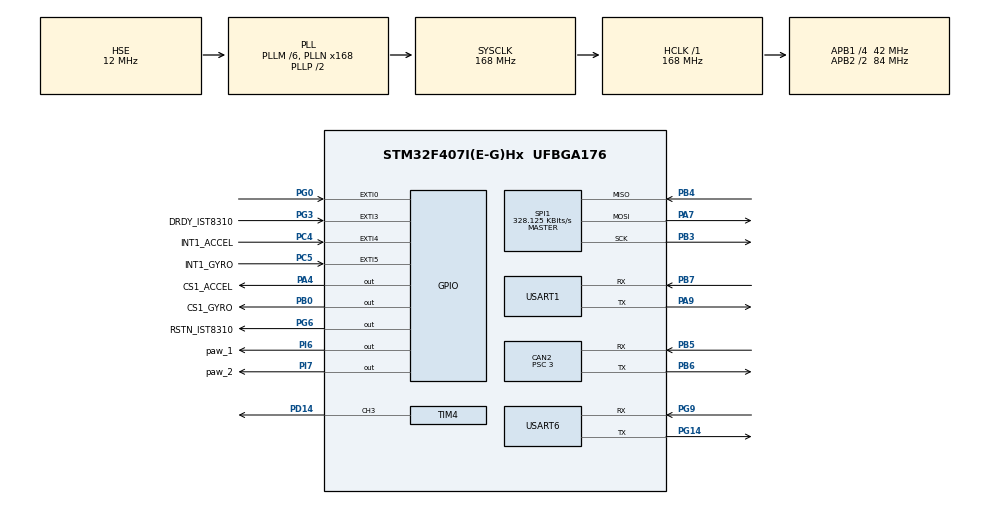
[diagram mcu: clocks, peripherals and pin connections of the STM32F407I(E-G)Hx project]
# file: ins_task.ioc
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CAN2.BS1=CAN_BS1_12TQ
CAN2.CalculateTimeQuantum=71.42857142857143
CAN2.Prescaler=3
Dma.Request0=SPI1_RX
Dma.Request1=SPI1_TX
Dma.SPI1_RX.0.Direction=DMA_PERIPH_TO_MEMORY
Dma.SPI1_RX.0.FIFOMode=DMA_FIFOMODE_DISABLE
Dma.SPI1_RX.0.Instance=DMA2_Stream2
Dma.SPI1_RX.0.MemDataAlignment=DMA_MDATAALIGN_BYTE
Dma.SPI1_RX.0.MemInc=DMA_MINC_ENABLE
Dma.SPI1_RX.0.Mode=DMA_NORMAL
Dma.SPI1_RX.0.PeriphDataAlignment=DMA_PDATAALIGN_BYTE
Dma.SPI1_RX.0.PeriphInc=DMA_PINC_DISABLE
Dma.SPI1_RX.0.Priority=DMA_PRIORITY_VERY_HIGH
Dma.SPI1_TX.1.Direction=DMA_MEMORY_TO_PERIPH
Dma.SPI1_TX.1.FIFOMode=DMA_FIFOMODE_DISABLE
Dma.SPI1_TX.1.Instance=DMA2_Stream3
Dma.SPI1_TX.1.MemDataAlignment=DMA_MDATAALIGN_BYTE
Dma.SPI1_TX.1.MemInc=DMA_MINC_ENABLE
Dma.SPI1_TX.1.Mode=DMA_NORMAL
Dma.SPI1_TX.1.PeriphDataAlignment=DMA_PDATAALIGN_BYTE
Dma.SPI1_TX.1.PeriphInc=DMA_PINC_DISABLE
Dma.SPI1_TX.1.Priority=DMA_PRIORITY_HIGH
FREERTOS.INCLUDE_eTaskGetState=1
FREERTOS.INCLUDE_pcTaskGetTaskName=1
FREERTOS.INCLUDE_uxTaskGetStackHighWaterMark=1
FREERTOS.INCLUDE_vTaskCleanUpResources=1
FREERTOS.INCLUDE_vTaskDelayUntil=1
FREERTOS.INCLUDE_xEventGroupSetBitFromISR=1
FREERTOS.INCLUDE_xQueueGetMutexHolder=1
FREERTOS.INCLUDE_xSemaphoreGetMutexHolder=1
FREERTOS.INCLUDE_xTaskAbortDelay=1
FREERTOS.INCLUDE_xTaskGetCurrentTaskHandle=1
FREERTOS.INCLUDE_xTaskGetHandle=1
FREERTOS.INCLUDE_xTimerPendFunctionCall=1
FREERTOS.Tasks01=test,24,128,test_task,As weak,NULL,Dynamic,NULL,NULL
FREERTOS.configTOTAL_HEAP_SIZE=24576
Mcu.Family=STM32F4
Mcu.Name=STM32F407I(E-G)Hx
Mcu.Package=UFBGA176
NVIC.CAN2_RX0_IRQn=true\:5\:0\:false\:false\:true\:true\:true\:true\:true
NVIC.CAN2_RX1_IRQn=true\:5\:0\:false\:false\:true\:true\:true\:true\:true
NVIC.DMA2_Stream2_IRQn=true\:5\:0\:true\:false\:false\:true\:false\:true\:true
NVIC.DMA2_Stream3_IRQn=true\:5\:0\:true\:false\:false\:true\:false\:true\:true
NVIC.EXTI0_IRQn=true\:6\:0\:true\:false\:true\:true\:true\:true\:true
NVIC.EXTI3_IRQn=true\:5\:0\:true\:false\:true\:true\:true\:true\:true
NVIC.EXTI4_IRQn=true\:5\:0\:true\:false\:true\:true\:true\:true\:true
NVIC.EXTI9_5_IRQn=true\:5\:0\:true\:false\:true\:true\:true\:true\:true
NVIC.PriorityGroup=NVIC_PRIORITYGROUP_4
NVIC.TIM1_UP_TIM10_IRQn=true\:0\:0\:false\:false\:true\:false\:false\:true\:true
NVIC.TimeBase=TIM1_UP_TIM10_IRQn
NVIC.TimeBaseIP=TIM1
NVIC.USART1_IRQn=true\:5\:0\:false\:false\:true\:true\:true\:true\:true
NVIC.USART6_IRQn=true\:5\:0\:false\:false\:true\:true\:true\:true\:true
PA13.Mode=Serial_Wire
PA13.Signal=SYS_JTMS-SWDIO
PA14.Mode=Serial_Wire
PA14.Signal=SYS_JTCK-SWCLK
PA4.GPIO_Label=CS1_ACCEL
PA4.GPIO_PuPd=GPIO_PULLUP
PA4.GPIO_Speed=GPIO_SPEED_FREQ_HIGH
PA4.PinState=GPIO_PIN_SET
PA4.Signal=GPIO_Output
PA7.GPIO_PuPd=GPIO_PULLUP
PA7.Mode=Full_Duplex_Master
PA7.Signal=SPI1_MOSI
PA8.Signal=I2C3_SCL
PA9.Mode=Asynchronous
PA9.Signal=USART1_TX
PB0.GPIO_Label=CS1_GYRO
PB0.GPIO_PuPd=GPIO_PULLUP
PB0.GPIO_Speed=GPIO_SPEED_FREQ_HIGH
PB0.PinState=GPIO_PIN_SET
PB0.Signal=GPIO_Output
PB3.GPIO_PuPd=GPIO_PULLUP
PB3.Mode=Full_Duplex_Master
PB3.Signal=SPI1_SCK
PB4.GPIO_PuPd=GPIO_PULLUP
PB4.Mode=Full_Duplex_Master
PB4.Signal=SPI1_MISO
PB5.Mode=Slave
PB5.Signal=CAN2_RX
PB6.Mode=Slave
PB6.Signal=CAN2_TX
PB7.Mode=Asynchronous
PB7.Signal=USART1_RX
PC4.GPIO_Label=INT1_ACCEL
PC4.GPIO_ModeDefaultEXTI=GPIO_MODE_IT_FALLING
PC4.GPIO_PuPd=GPIO_PULLUP
PC4.Signal=GPXTI4
PC5.GPIO_Label=INT1_GYRO
PC5.GPIO_ModeDefaultEXTI=GPIO_MODE_IT_FALLING
PC5.GPIO_PuPd=GPIO_PULLUP
PC5.Signal=GPXTI5
PC9.Signal=I2C3_SDA
PD14.Signal=S_TIM4_CH3
PF6.GPIO_PuPd=GPIO_PULLUP
PF6.GPIO_Speed=GPIO_SPEED_FREQ_HIGH
PF6.Signal=S_TIM10_CH1
PG0.GPIO_ModeDefaultEXTI=GPIO_MODE_IT_FALLING
PG0.GPIO_PuPd=GPIO_PULLUP
PG0.Signal=GPXTI0
PG14.Mode=Asynchronous
PG14.Signal=USART6_TX
PG3.GPIO_Label=DRDY_IST8310
PG3.GPIO_ModeDefaultEXTI=GPIO_MODE_IT_FALLING
PG3.GPIO_PuPd=GPIO_PULLUP
PG3.Signal=GPXTI3
PG6.GPIO_Label=RSTN_IST8310
PG6.GPIO_PuPd=GPIO_PULLUP
PG6.GPIO_Speed=GPIO_SPEED_FREQ_MEDIUM
PG6.PinState=GPIO_PIN_SET
PG6.Signal=GPIO_Output
PG9.Mode=Asynchronous
PG9.Signal=USART6_RX
PH0-OSC_IN.Mode=HSE-External-Oscillator
PH0-OSC_IN.Signal=RCC_OSC_IN
PH1-OSC_OUT.Mode=HSE-External-Oscillator
PH1-OSC_OUT.Signal=RCC_OSC_OUT
PH10.GPIO_Label=LED_B
PH10.GPIO_PuPd=GPIO_PULLUP
PH10.GPIO_Speed=GPIO_SPEED_FREQ_HIGH
PH10.Signal=S_TIM5_CH1
PH11.GPIO_Label=LED_G
PH11.GPIO_PuPd=GPIO_PULLUP
PH11.GPIO_Speed=GPIO_SPEED_FREQ_HIGH
PH11.Signal=S_TIM5_CH2
PH12.GPIO_Label=LED_R
PH12.GPIO_PuPd=GPIO_PULLUP
PH12.GPIO_Speed=GPIO_SPEED_FREQ_HIGH
PH12.Signal=S_TIM5_CH3
PI6.GPIO_Label=paw_1
PI6.GPIO_PuPd=GPIO_PULLDOWN
PI6.Signal=GPIO_Output
PI7.GPIO_Label=paw_2
PI7.GPIO_PuPd=GPIO_PULLDOWN
PI7.Signal=GPIO_Output
ProjectManager.HeapSize=0x2000
ProjectManager.StackSize=0x2000
ProjectManager.TargetToolchain=MDK-ARM V5
RCC.48MHZClocksFreq_Value=48000000
RCC.AHBFreq_Value=168000000
RCC.APB1CLKDivider=RCC_HCLK_DIV4
RCC.APB1Freq_Value=42000000
RCC.APB1TimFreq_Value=84000000
RCC.APB2CLKDivider=RCC_HCLK_DIV2
RCC.APB2Freq_Value=84000000
RCC.APB2TimFreq_Value=168000000
RCC.CortexFreq_Value=168000000
RCC.HCLKFreq_Value=168000000
RCC.HSE_VALUE=12000000
RCC.HSI_VALUE=16000000
RCC.LSE_VALUE=32768
RCC.PLLM=6
RCC.PLLN=168
RCC.PLLQ=7
RCC.PLLSourceVirtual=RCC_PLLSOURCE_HSE
RCC.RCC_RTC_Clock_SourceVirtual=RCC_RTCCLKSOURCE_HSE_DIV30
RCC.RCC_RTC_Clock_Source_FROM_HSE=RCC_RTCCLKSOURCE_HSE_DIV30
RCC.SYSCLKFreq_VALUE=168000000
RCC.SYSCLKSource=RCC_SYSCLKSOURCE_PLLCLK
RCC.VCOOutputFreq_Value=336000000
SH.S_TIM10_CH1.0=TIM10_CH1
SH.S_TIM4_CH3.0=TIM4_CH3,PWM Generation3 CH3
SH.S_TIM5_CH1.0=TIM5_CH1
SH.S_TIM5_CH2.0=TIM5_CH2
SH.S_TIM5_CH3.0=TIM5_CH3
SPI1.BaudRatePrescaler=SPI_BAUDRATEPRESCALER_256
SPI1.CLKPhase=SPI_PHASE_2EDGE
SPI1.CLKPolarity=SPI_POLARITY_HIGH
SPI1.CalculateBaudRate=328.125 KBits/s
SPI1.Direction=SPI_DIRECTION_2LINES
SPI1.Mode=SPI_MODE_MASTER
SPI1.VirtualType=VM_MASTER
TIM4.Channel-PWM\ Generation3\ CH3=TIM_CHANNEL_3
TIM4.Period=20999
USART1.VirtualMode=VM_ASYNC
USART6.VirtualMode=VM_ASYNC
VP_FREERTOS_VS_CMSIS_V1.Mode=CMSIS_V1
VP_SYS_VS_tim1.Mode=TIM1
VP_TIM4_VS_ClockSourceINT.Mode=Internal
board=custom

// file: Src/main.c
/* USER CODE BEGIN Header */
/**
  ******************************************************************************
  * @file           : main.c
  * @brief          : Main program body
  ******************************************************************************
  * @attention
  *
  * <h2><center>&copy; Copyright (c) 2019 STMicroelectronics.
  * All rights reserved.</center></h2>
  *
  * This software component is licensed by ST under Ultimate Liberty license
  * SLA0044, the "License"; You may not use this file except in compliance with
  * the License. You may obtain a copy of the License at:
  *                             www.st.com/SLA0044
  *
  ******************************************************************************
  */
/* USER CODE END Header */

#include "main.h"
#include "cmsis_os.h"
#include "can.h"
#include "dma.h"
#include "spi.h"
#include "tim.h"
#include "usart.h"
#include "gpio.h"

/* USER CODE BEGIN Includes */
#include "bsp_can.h"
#include "mydwt.h"
#include "bmi088.h"
#include "test_task.h"
/* USER CODE END Includes */

void SystemClock_Config(void);
void MX_FREERTOS_Init(void);

/* USER CODE BEGIN 0 */
extern uint8_t paw_data;

/* USER CODE END 0 */

int main(void)
{

  /* MCU Configuration--------------------------------------------------------*/

  /* Reset of all peripherals, Initializes the Flash interface and the Systick. */
  HAL_Init();

  /* Configure the system clock */
  SystemClock_Config();

  /* Initialize all configured peripherals */
  MX_GPIO_Init();
  MX_DMA_Init();
  MX_SPI1_Init();
  MX_USART6_UART_Init();
  MX_CAN2_Init();
  MX_USART1_UART_Init();
  MX_TIM4_Init();
  /* USER CODE BEGIN 2 */
	Buzzer_Init();

    //delay_init();
		can_filter_init(&hcan2);
	HAL_UART_Receive_IT(&huart1,&paw_data,1);
	  DWT_Init(168);
  BMI088_INIT(&hspi1, 0);
  /* USER CODE END 2 */

  /* Call init function for freertos objects (in freertos.c) */
  MX_FREERTOS_Init();

  /* Start scheduler */
  osKernelStart();

  /* We should never get here as control is now taken by the scheduler */

  /* Infinite loop */
  while (1)
  {

  }
}

void SystemClock_Config(void)
{
  RCC_OscInitTypeDef RCC_OscInitStruct = {0};
  RCC_ClkInitTypeDef RCC_ClkInitStruct = {0};

  /** Configure the main internal regulator output voltage
  */
  __HAL_RCC_PWR_CLK_ENABLE();
  __HAL_PWR_VOLTAGESCALING_CONFIG(PWR_REGULATOR_VOLTAGE_SCALE1);
  /** Initializes the CPU, AHB and APB busses clocks
  */
  RCC_OscInitStruct.OscillatorType = RCC_OSCILLATORTYPE_HSE;
  RCC_OscInitStruct.HSEState = RCC_HSE_ON;
  RCC_OscInitStruct.PLL.PLLState = RCC_PLL_ON;
  RCC_OscInitStruct.PLL.PLLSource = RCC_PLLSOURCE_HSE;
  RCC_OscInitStruct.PLL.PLLM = 6;
  RCC_OscInitStruct.PLL.PLLN = 168;
  RCC_OscInitStruct.PLL.PLLP = RCC_PLLP_DIV2;
  RCC_OscInitStruct.PLL.PLLQ = 7;
  if (HAL_RCC_OscConfig(&RCC_OscInitStruct) != HAL_OK)
  {
    Error_Handler();
  }
  /** Initializes the CPU, AHB and APB busses clocks
  */
  RCC_ClkInitStruct.ClockType = RCC_CLOCKTYPE_HCLK|RCC_CLOCKTYPE_SYSCLK
                              |RCC_CLOCKTYPE_PCLK1|RCC_CLOCKTYPE_PCLK2;
  RCC_ClkInitStruct.SYSCLKSource = RCC_SYSCLKSOURCE_PLLCLK;
  RCC_ClkInitStruct.AHBCLKDivider = RCC_SYSCLK_DIV1;
  RCC_ClkInitStruct.APB1CLKDivider = RCC_HCLK_DIV4;
  RCC_ClkInitStruct.APB2CLKDivider = RCC_HCLK_DIV2;

  if (HAL_RCC_ClockConfig(&RCC_ClkInitStruct, FLASH_LATENCY_5) != HAL_OK)
  {
    Error_Handler();
  }
}

void HAL_TIM_PeriodElapsedCallback(TIM_HandleTypeDef *htim)
{
  if (htim->Instance == TIM1) {
    HAL_IncTick();
  }
}

void Error_Handler(void)
{
}

/************************ (C) COPYRIGHT STMicroelectronics *****END OF FILE****/

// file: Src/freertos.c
/* USER CODE BEGIN Header */
/**
  ******************************************************************************
  * File Name          : freertos.c
  * Description        : Code for freertos applications
  ******************************************************************************
  * @attention
  *
  * <h2><center>&copy; Copyright (c) 2019 STMicroelectronics.
  * All rights reserved.</center></h2>
  *
  * This software component is licensed by ST under Ultimate Liberty license
  * SLA0044, the "License"; You may not use this file except in compliance with
  * the License. You may obtain a copy of the License at:
  *                             www.st.com/SLA0044
  *
  ******************************************************************************
  */
/* USER CODE END Header */

#include "FreeRTOS.h"
#include "task.h"
#include "main.h"
#include "cmsis_os.h"

/* USER CODE BEGIN Includes */

#include "insTask.h"
#include "led_flow_task.h"

/* USER CODE END Includes */

/* USER CODE BEGIN PTD */

osThreadId imuTaskHandle;
osThreadId led_RGB_flow_handle;
/* USER CODE END PTD */

osThreadId testHandle;

void test_task(void const * argument);

void MX_FREERTOS_Init(void); /* (MISRA C 2004 rule 8.1) */

/* GetIdleTaskMemory prototype (linked to static allocation support) */
void vApplicationGetIdleTaskMemory( StaticTask_t **ppxIdleTaskTCBBuffer, StackType_t **ppxIdleTaskStackBuffer, uint32_t *pulIdleTaskStackSize );

/* GetTimerTaskMemory prototype (linked to static allocation support) */
void vApplicationGetTimerTaskMemory( StaticTask_t **ppxTimerTaskTCBBuffer, StackType_t **ppxTimerTaskStackBuffer, uint32_t *pulTimerTaskStackSize );

/* USER CODE BEGIN GET_IDLE_TASK_MEMORY */
static StaticTask_t xIdleTaskTCBBuffer;
static StackType_t xIdleStack[configMINIMAL_STACK_SIZE];

void vApplicationGetIdleTaskMemory( StaticTask_t **ppxIdleTaskTCBBuffer, StackType_t **ppxIdleTaskStackBuffer, uint32_t *pulIdleTaskStackSize )
{
  *ppxIdleTaskTCBBuffer = &xIdleTaskTCBBuffer;
  *ppxIdleTaskStackBuffer = &xIdleStack[0];
  *pulIdleTaskStackSize = configMINIMAL_STACK_SIZE;
  /* place for user code */
}
/* USER CODE END GET_IDLE_TASK_MEMORY */

/* USER CODE BEGIN GET_TIMER_TASK_MEMORY */
static StaticTask_t xTimerTaskTCBBuffer;
static StackType_t xTimerStack[configTIMER_TASK_STACK_DEPTH];

void vApplicationGetTimerTaskMemory( StaticTask_t **ppxTimerTaskTCBBuffer, StackType_t **ppxTimerTaskStackBuffer, uint32_t *pulTimerTaskStackSize )
{
  *ppxTimerTaskTCBBuffer = &xTimerTaskTCBBuffer;
  *ppxTimerTaskStackBuffer = &xTimerStack[0];
  *pulTimerTaskStackSize = configTIMER_TASK_STACK_DEPTH;
  /* place for user code */
}
/* USER CODE END GET_TIMER_TASK_MEMORY */

void MX_FREERTOS_Init(void) {

  /* Create the thread(s) */
  /* definition and creation of test */
  osThreadDef(test, test_task, osPriorityNormal, 0, 128);
  testHandle = osThreadCreate(osThread(test), NULL);

  /* USER CODE BEGIN RTOS_THREADS */
  /* add threads, ... */
    osThreadDef(imuTask, InsTask, osPriorityRealtime, 0, 1024);
    imuTaskHandle = osThreadCreate(osThread(imuTask), NULL);

  /* USER CODE END RTOS_THREADS */

}

__weak void test_task(void const * argument)
{

  for(;;)
  {
    osDelay(1);
  }
}

/************************ (C) COPYRIGHT STMicroelectronics *****END OF FILE****/
